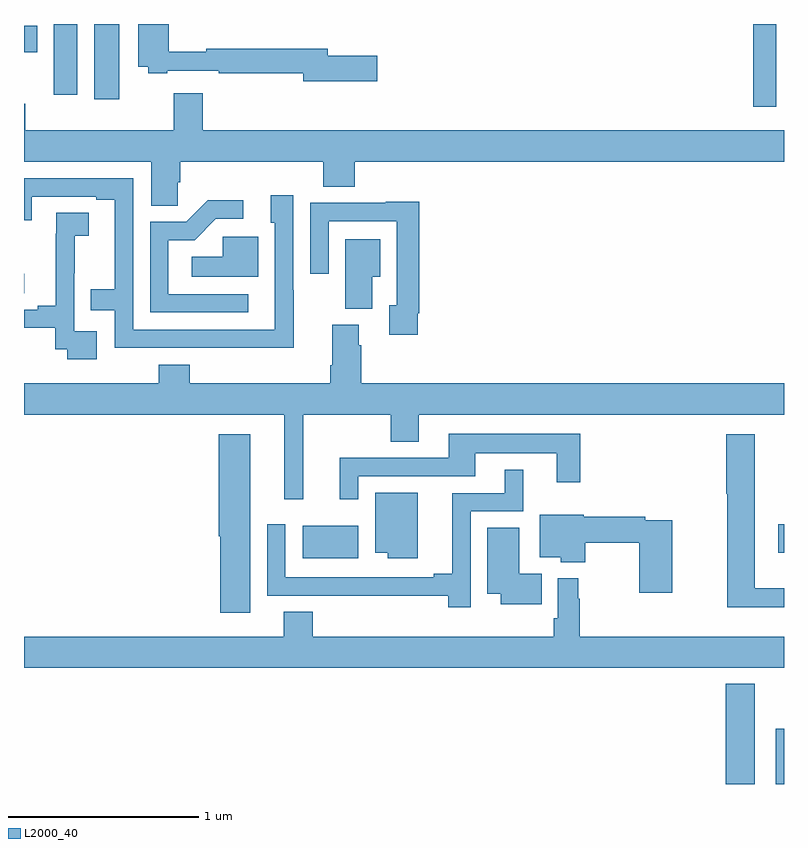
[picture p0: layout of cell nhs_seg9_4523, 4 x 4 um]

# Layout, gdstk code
import gdstk
lib = gdstk.Library(unit=1e-6, precision=1e-09)
def R(c, l, rs):  # rectangles x0, y0, x1, y1
    for r in rs: c.add(gdstk.rectangle(r[:2], r[2:], *l))
def P(c, l, *ps):  # polygons
    for p in ps: c.add(gdstk.Polygon(p, *l))
L2000_40 = (2000, 40)

nhs_seg9_4523 = lib.new_cell('nhs_seg9_4523')
R(nhs_seg9_4523, L2000_40, [(374.693,1170.5,374.845,1171.027), (374.957,1170.5,375,1170.792), (372.467,1171.688,372.76,1171.858), (374.97,1171.718,375,1171.866), (371,1173.082,371.002,1173.186), (374.838,1174.065,374.959,1174.5), (371.369,1174.104,371.5,1174.5), (371.156,1174.128,371.281,1174.5), (371,1174.352,371.071,1174.492)])
P(nhs_seg9_4523, L2000_40, [(372.859,1174.334),(372.598,1174.334),(372.598,1174.37),(371.96,1174.37),(371.96,1174.355),(371.762,1174.355),(371.762,1174.5),(371.6,1174.5),(371.6,1174.274),(371.655,1174.274),(371.655,1174.242),(371.755,1174.242),(371.755,1174.254),(372.025,1174.254),(372.025,1174.242),(372.47,1174.242),(372.47,1174.199),(372.859,1174.199)],
  [(371.808,1173.667),(371.822,1173.667),(371.822,1173.776),(372.575,1173.776),(372.575,1173.643),(372.74,1173.643),(372.74,1173.776),(375,1173.776),(375,1173.94),(371.942,1173.94),(371.942,1174.135),(371.789,1174.135),(371.789,1173.94),(371.006,1173.94),(371.006,1174.081),(371,1174.081),(371,1173.776),(371.669,1173.776),(371.669,1173.544),(371.808,1173.544)],
  [(372.419,1173.098),(372.417,1173.098),(372.417,1173.598),(372.299,1173.598),(372.299,1173.453),(372.321,1173.453),(372.321,1172.892),(371.574,1172.892),(371.574,1173.687),(371,1173.687),(371,1173.468),(371.04,1173.468),(371.04,1173.591),(371.381,1173.591),(371.381,1173.576),(371.477,1173.576),(371.477,1173.103),(371.35,1173.103),(371.35,1172.994),(371.478,1172.994),(371.478,1172.796),(371.956,1172.796),(371.956,1172.795),(372.419,1172.795)],
  [(372.181,1173.078),(371.76,1173.078),(371.76,1173.363),(371.898,1173.363),(372.009,1173.474),(372.154,1173.474),(372.154,1173.572),(371.966,1173.572),(371.853,1173.459),(371.664,1173.459),(371.664,1172.982),(372.181,1172.982)],
  [(373.072,1172.977),(373.079,1172.977),(373.079,1173.565),(372.903,1173.565),(372.903,1173.558),(372.507,1173.558),(372.507,1173.186),(372.603,1173.186),(372.603,1173.462),(372.963,1173.462),(372.963,1173.021),(372.923,1173.021),(372.923,1172.865),(373.072,1172.865)],
  [(371.383,1172.883),(371.265,1172.883),(371.265,1173.187),(371.267,1173.187),(371.267,1173.385),(371.341,1173.385),(371.341,1173.506),(371.17,1173.506),(371.17,1173.395),(371.168,1173.395),(371.168,1173.017),(371.072,1173.017),(371.072,1172.997),(371,1172.997),(371,1172.901),(371.164,1172.901),(371.164,1172.787),(371.227,1172.787),(371.227,1172.736),(371.383,1172.736)],
  [(372.232,1173.381),(372.045,1173.381),(372.045,1173.274),(371.883,1173.274),(371.883,1173.17),(372.232,1173.17)],
  [(372.832,1173.17),(372.874,1173.17),(372.874,1173.367),(372.692,1173.367),(372.692,1173.001),(372.832,1173.001)],
  [(372.931,1172.302),(373.078,1172.302),(373.078,1172.444),(375,1172.444),(375,1172.608),(372.776,1172.608),(372.776,1172.81),(372.763,1172.81),(372.763,1172.916),(372.623,1172.916),(372.623,1172.704),(372.611,1172.704),(372.611,1172.608),(371.873,1172.608),(371.873,1172.707),(371.708,1172.707),(371.708,1172.608),(371,1172.608),(371,1172.444),(372.371,1172.444),(372.371,1171.998),(372.47,1171.998),(372.47,1172.444),(372.931,1172.444)],
  [(372.759,1172.121),(373.375,1172.121),(373.375,1172.24),(373.805,1172.24),(373.805,1172.088),(373.927,1172.088),(373.927,1172.344),(373.235,1172.344),(373.235,1172.217),(372.662,1172.217),(372.662,1171.998),(372.759,1171.998)],
  [(372.19,1172.341),(372.026,1172.341),(372.026,1171.803),(372.032,1171.803),(372.032,1171.401),(372.19,1171.401)],
  [(375,1171.529),(374.845,1171.529),(374.845,1172.341),(374.696,1172.341),(374.696,1172.028),(374.701,1172.028),(374.701,1171.43),(375,1171.43)],
  [(373.35,1171.935),(373.627,1171.935),(373.627,1172.155),(373.529,1172.155),(373.529,1172.031),(373.253,1172.031),(373.253,1171.607),(373.157,1171.607),(373.157,1171.587),(372.375,1171.587),(372.375,1171.867),(372.279,1171.867),(372.279,1171.491),(372.604,1171.491),(372.604,1171.49),(373.234,1171.49),(373.234,1171.431),(373.35,1171.431)],
  [(373.072,1172.032),(372.848,1172.032),(372.848,1171.718),(372.914,1171.718),(372.914,1171.688),(373.072,1171.688)],
  [(374.412,1171.887),(374.27,1171.887),(374.27,1171.907),(373.945,1171.907),(373.945,1171.918),(373.715,1171.918),(373.715,1171.694),(373.824,1171.694),(373.824,1171.667),(373.953,1171.667),(373.953,1171.771),(374.239,1171.771),(374.239,1171.506),(374.412,1171.506)],
  [(373.724,1171.606),(373.606,1171.606),(373.606,1171.85),(373.439,1171.85),(373.439,1171.502),(373.508,1171.502),(373.508,1171.445),(373.724,1171.445)],
  [(375,1171.276),(373.925,1171.276),(373.925,1171.475),(373.918,1171.475),(373.918,1171.582),(373.809,1171.582),(373.809,1171.372),(373.789,1171.372),(373.789,1171.276),(372.521,1171.276),(372.521,1171.406),(372.368,1171.406),(372.368,1171.276),(371,1171.276),(371,1171.112),(375,1171.112)])

lib.write_gds('nhs_seg9_4523.gds')
